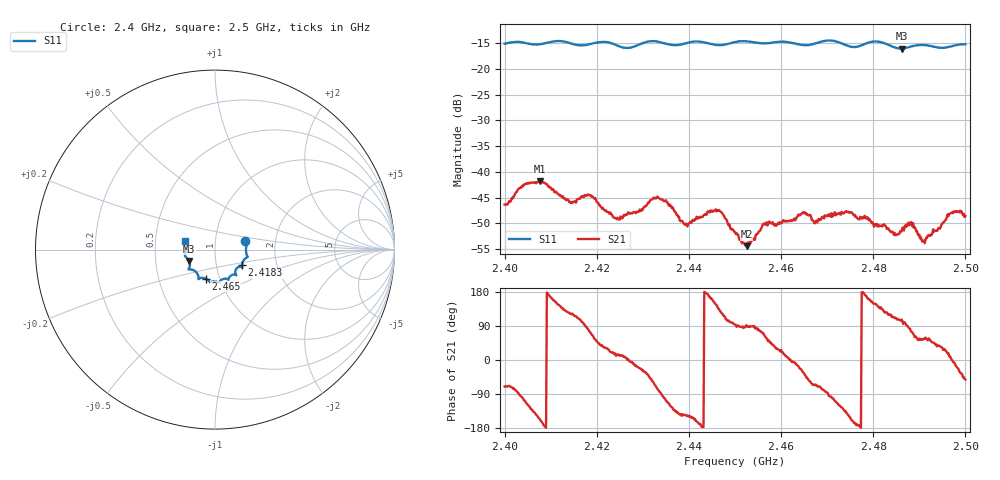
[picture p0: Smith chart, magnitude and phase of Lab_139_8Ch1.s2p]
# Hz S RI R 50
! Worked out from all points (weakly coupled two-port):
!   601 points, 2.4 GHz to 2.5 GHz, reference 50 ohm
!   highest |S21| = -41.84 dB at 2.4077 GHz (marker M1); lowest = -54.5 dB at 2.4525 GHz (marker M2)
!   lowest |S11| = -16.1 dB at 2.4862 GHz (marker M3), VSWR 1.37, Z = 37.1 - j4.83 ohm
!   |S11| at or under -10 dB: start of sweep to end of sweep
!   S12 and S22 are empty: the file has one direction only
!   S11 on the Smith chart (normalised r, x): 2.4 GHz: 1.40, +0.13; 2.4183 GHz: 1.33, -0.24; 2.465 GHz: 0.86, -0.29; 2.5 GHz: 0.71, +0.07
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2.4e9  0.1696 0.0458  0.00165 -0.00451  0 0  0 0
2.404333e9  0.1778 0.025  -0.0022 -0.00727  0 0  0 0
2.407667e9  0.1731 -0.0116  -0.00745 -0.00316  0 0  0 0
2.4145e9  0.1695 -0.0487  -0.00261 0.00437  0 0  0 0
2.416667e9  0.155 -0.068  -0.00115 0.00558  0 0  0 0
2.418333e9  0.15 -0.0872  0.00133 0.00577  0 0  0 0
2.4245e9  0.1386 -0.0955  0.00347 0.000907  0 0  0 0
2.433333e9  0.1174 -0.1408  0.00106 -0.00552  0 0  0 0
2.439333e9  0.0769 -0.1595  -0.00256 -0.00172  0 0  0 0
2.446667e9  0.0465 -0.1636  -0.00272 0.00315  0 0  0 0
2.45e9  0.0254 -0.1808  -0.000157 0.00259  0 0  0 0
2.4525e9  0.0204 -0.1843  -6.02e-05 0.00189  0 0  0 0
2.456333e9  -0.00352 -0.177  0.00129 0.00287  0 0  0 0
2.465e9  -0.0525 -0.1618  0.00329 -0.00236  0 0  0 0
2.466667e9  -0.0715 -0.1572  0.00158 -0.003  0 0  0 0
2.474667e9  -0.0986 -0.1342  -0.00341 -0.00225  0 0  0 0
2.483333e9  -0.1412 -0.0965  -0.00136 0.00244  0 0  0 0
2.486167e9  -0.1442 -0.0634  -0.000757 0.00253  0 0  0 0
2.488167e9  -0.1583 -0.0453  0.000784 0.00315  0 0  0 0
2.491e9  -0.1674 -0.0337  0.0012 0.00178  0 0  0 0
2.496667e9  -0.1627 0.024  0.00387 0.000641  0 0  0 0
2.5e9  -0.167 0.0468  0.0023 -0.00291  0 0  0 0
